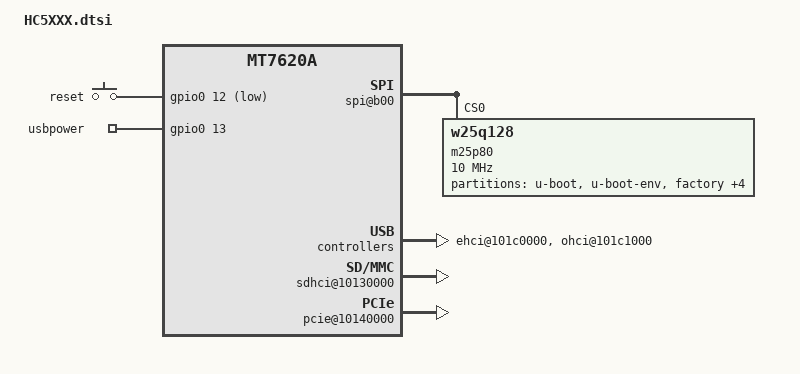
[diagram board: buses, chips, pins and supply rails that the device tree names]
/include/ "mt7620a.dtsi"

/ {
	chosen {
		bootargs = "console=ttyS0,115200";
	};

	palmbus@10000000 {
		sysc@0 {
			ralink,gpiomux = "i2c", "jtag";
			ralink,uartmux = "gpio";
			ralink,wdtmux = <1>;
		};

		gpio0: gpio@600 {
			status = "okay";
		};

		gpio2: gpio@660 {
			status = "okay";
		};

		gpio3: gpio@688 {
			status = "okay";
		};

		spi@b00 {
			status = "okay";

			m25p80@0 {
				#address-cells = <1>;
				#size-cells = <1>;
				compatible = "w25q128";
				reg = <0 0>;
				linux,modalias = "m25p80", "w25q128";
				spi-max-frequency = <10000000>;

				partition@0 {
					label = "u-boot";
					reg = <0x0 0x30000>;
				};

				partition@30000 {
					label = "u-boot-env";
					reg = <0x30000 0x10000>;
					read-only;
				};

				factory: partition@40000 {
					label = "factory";
					reg = <0x40000 0x10000>;
				};

				partition@50000 {
					label = "firmware";
					reg = <0x50000 0xf80000>;
				};

				partition@fd0000 {
					label = "hwf_config";
					reg = <0xfd0000 0x10000>;
				};

				bdinfo: partition@fe0000 {
					label = "bdinfo";
					reg = <0xfe0000 0x10000>;
				};

				partition@ff0000 {
					label = "backup";
					reg = <0xff0000 0x10000>;
				};
			};
		};
	};

	ehci@101c0000 {
		status = "okay";
	};

	ohci@101c1000 {
		status = "okay";
	};

	ethernet@10100000 {
		pinctrl-names = "default";
		pinctrl-0 = <&ephy_pins>;
		mtd-mac-address = <&factory 0x4>;
		ralink,port-map = "wllll";
	};

	sdhci@10130000 {
		status = "okay";
	};

	wmac@10180000 {
		ralink,mtd-eeprom = <&factory 0>;
	};

	pcie@10140000 {
		status = "okay";
	};

	pinctrl {
		state_default: pinctrl0 {
			gpio {
				ralink,group = "uartf", "wled", "nd_sd";
				ralink,function = "gpio";
			};

			pa {
				ralink,group = "pa";
				ralink,function = "pa";
			};
		};
	};

	gpio-keys-polled {
		compatible = "gpio-keys-polled";
		#address-cells = <1>;
		#size-cells = <0>;
		poll-interval = <20>;

		reset {
			label = "reset";
			gpios = <&gpio0 12 1>;
			linux,code = <0x198>;
		};
	};

	gpio_export {
		compatible = "gpio-export";
		#size-cells = <0>;

		usbpower {
			gpio-export,name = "usbpower";
			gpio-export,output = <1>;
			gpios = <&gpio0 13 0>;
		};
	};
};
